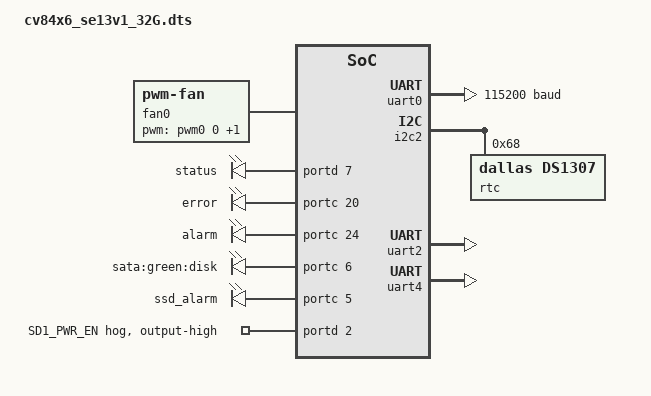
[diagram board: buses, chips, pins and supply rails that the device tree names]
/dts-v1/;
#include "soph_base_arm64.dtsi"
#include "soph_base.dtsi"
#include "soph_default_memmap_32G.dtsi"

#ifndef __UBOOT__
#include "soph_asic_emmc.dtsi"
#endif

/ {
	aliases {
		serial0 = &uart0;
	};

	chosen {
		stdout-path = "serial0"; // "serial0:115200n8", no arguments means no re-initialization
	};
	reserved-memory {
		#address-cells = <0x2>;
		#size-cells = <0x2>;
		ranges;

#ifndef __UBOOT__
		scalar_reserved: scalar_mem {
			reg = <0x10 0x40000000 0x0 0x40000000>;	//1GB for 4x256M TPU firmware
			no-map;
		};
		scaler_shm_reserved: scaler_shm_mem {
			reg = <0x10 0x80000000 0x0 0xC00000>;	//12MB after scalar parks
			no-map;
		};

		cma_reserved: linux,cma {
			compatible = "shared-dma-pool";
			reusable;
			size = <0x0 0x8000000>; // 128MB
			alignment = <0x0 0x2000>; // 8KB
			alloc-ranges = <0x10 0x81000000 0x0 0x8000000>;
			linux,cma-default;
		};
		ion_for_npu: ion_npu_mem {
			compatible = "npu-region";
			reg = <0x10 0x90000000 0x5 0xF0000000>; // 23.75GB for TPU (end kept at 0x1680000000)
		};

		ion_for_vpp: ion_vpp_mem {
			compatible = "vpp-region";
			reg = <0x17 0x00000000 0x0 0xFFE00000>; // 4GB for VPP (full Node7, 2MB reserved for FREERTOS)
		};

#endif
	};

	fan0: pwm-fan {
		compatible = "pwm-fan";
		#cooling-cells = <2>;
		pwm-names = "fan", "tach";
		pwms = <&pwm0 0 1000000>, /* pwm0 ch0: fan */
		       <&pwm1 0 1000000>; /* pwm1 ch0: tach (PWM4) */
		cooling-levels = <1 100 170 255>;
		pulses-per-revolution = <2>;
	};

	thermal-zones {
		soc_thermal_0 {
			trips {
				soc_thermal_trip_0: soc_thermal_trip_0 {
					temperature = <85000>; /* millicelsius */
					hysteresis = <10000>; /* millicelsius */
					type = "passive";
				};

				soc_thermal_trip_1: soc_thermal_trip_1 {
					temperature = <95000>; /* millicelsius */
					hysteresis = <20000>; /* millicelsius */
					type = "passive";
				};

				soc_thermal_crtical_0: soc_thermal_crtical_0 {
					temperature = <105000>; /* millicelsius */
					hysteresis = <0>; /* millicelsius */
					type = "critical";
				};
			};
			cooling-maps {
				map0 {
					trip = <&soc_thermal_trip_0>;
					cooling-device = <&fan0 1 1>;
				};

				map1 {
					trip = <&soc_thermal_trip_1>;
					cooling-device = <&fan0 2 2>;
				};

				map2 {
					trip = <&soc_thermal_crtical_0>;
					cooling-device = <&fan0 3 3>;
				};
			};
		};
	};
};

&uart0 {
	clock-frequency = <200000000>;
	current-speed = <115200>;
};

&i2c2 {
	rtc@68 {
		compatible = "dallas,ds1307";
		reg = <0x68>;
	};
};

&can0 {
	label = "SE13";
};

&can0 {
	pinctrl-names = "default";
	pinctrl-0 = <&can0_default>;
	label = "SE13";
};

&pwm0 {
	pinctrl-names = "default";
	pinctrl-0 = <&pwm0_default>;
};

&pwm1 {
	pinctrl-names = "default";
	pinctrl-0 = <&pwm4_default>;
};

&cv84x2_dvfs {
	pmic {
		reg = <0x00>;	/* SE13: JWH PMIC @ 0x00 */
	};
};

/ {
	gpio_leds: gpio_leds {
		compatible = "gpio-leds";
#ifndef __UBOOT__
		pinctrl-names = "default";
		pinctrl-0 = <&led_pins>;
#endif

		led-status {
			label = "status";
			gpios = <&portd 7 GPIO_ACTIVE_HIGH>;
			default-state = "off";
		};

		led-error {
			label = "error";
			gpios = <&portc 20 GPIO_ACTIVE_HIGH>;
			default-state = "on";
			panic-indicator;
		};

		led-alarm {
			label = "alarm";
			gpios = <&portc 24 GPIO_ACTIVE_HIGH>;
			default-state = "off";
		};

		led-ssd-status {
			label = "sata:green:disk";
			gpios = <&portc 6 GPIO_ACTIVE_HIGH>;
			default-state = "off";
			linux,default-trigger = "disk-activity-2hz";
		};

		led-ssd-alarm {
			label = "ssd_alarm";
			gpios = <&portc 5 GPIO_ACTIVE_HIGH>;
			default-state = "off";
		};
	};
};

/* SE13: GPIO69/70 to SSD LED, not USB3 VBUS */
&usbdrd3_0 {
	/delete-property/ vbus-gpio;
};
&usbdrd3_1 {
	/delete-property/ vbus-gpio;
};

/* Phoenix terminal: RS485 */
&uart2 {
	pinctrl-names = "default";
	pinctrl-0 = <&uart2_default>;
	status = "okay";
};

/* Phoenix terminal: RS232 */
&uart4 {
	pinctrl-names = "default";
	pinctrl-0 = <&uart4_default>;
	status = "okay";
};

&usbdrd_dwc3_0 {
	role-switch-default-mode = "host";
	snps,dis_u2_susphy_quirk;
	snps,dis_enblslpm_quirk;
};

/* SD1_PWR_EN -> GPIO98, driven high. SD1_CD stays the card-detect function. */
&sd1 {
	pinctrl-0 = <&sd1_cd_default>;
};

&gpio3 {
	pinctrl-names = "default";
	pinctrl-0 = <&sd1_pwr_gpio>;
};

&portd {
	sd1_pwr_en_hog {
		gpio-hog;
		gpios = <2 GPIO_ACTIVE_HIGH>;
		output-high;
		line-name = "SD1_PWR_EN";
	};
};

